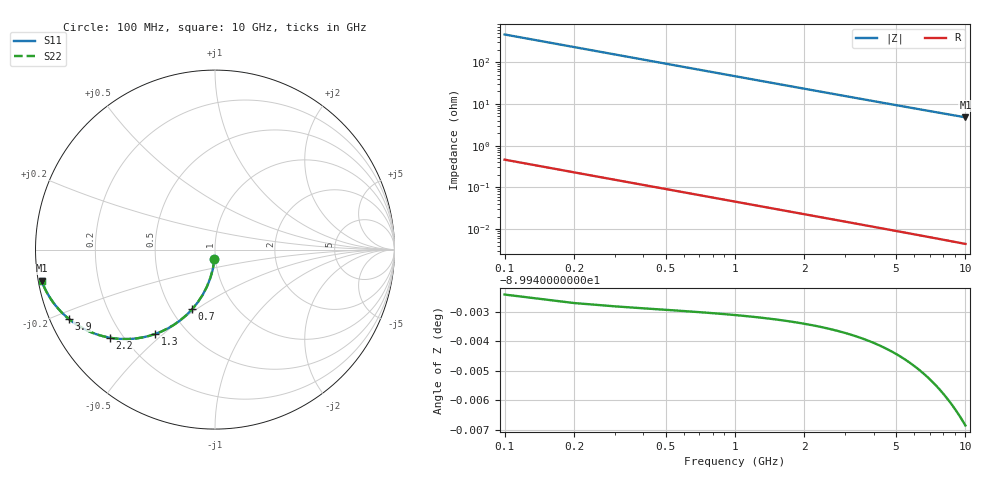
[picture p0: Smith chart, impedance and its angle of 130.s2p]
# Hz S RI R 50.00
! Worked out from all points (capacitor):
!   100 points, 100 MHz to 10 GHz, reference 50 ohm
!   read as one part in shunt: C = 3.46 pF near 100 MHz
!   lowest |Z| = 4.78 ohm at 10 GHz (marker M1)
!   S11 on the Smith chart (normalised r, x): 100 MHz: 0.99, -0.11; 700 MHz: 0.63, -0.48; 1.3 GHz: 0.34, -0.47; 2.2 GHz: 0.15, -0.36; 3.9 GHz: 0.05, -0.22; 10 GHz: 0.01, -0.09
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1e8  -0.00299 -0.0541  0.997 -0.0542  0.997 -0.0542  -0.00299 -0.0541
2e8  -0.0118 -0.1073  0.9882 -0.1075  0.9882 -0.1075  -0.0118 -0.1073
3e8  -0.026 -0.1586  0.9739 -0.1589  0.9739 -0.1589  -0.026 -0.1586
4e8  -0.0453 -0.2072  0.9547 -0.2077  0.9547 -0.2077  -0.0453 -0.2072
5e8  -0.0689 -0.2526  0.9311 -0.2531  0.9311 -0.2531  -0.0689 -0.2526
6e8  -0.0962 -0.2941  0.9037 -0.2948  0.9037 -0.2948  -0.0962 -0.2941
7e8  -0.1265 -0.3315  0.8735 -0.3323  0.8735 -0.3323  -0.1265 -0.3315
8e8  -0.159 -0.3647  0.841 -0.3656  0.841 -0.3656  -0.159 -0.3647
1e9  -0.2278 -0.4183  0.7722 -0.4195  0.7722 -0.4195  -0.2278 -0.4183
1.3e9  -0.3323 -0.4698  0.6677 -0.4713  0.6677 -0.4713  -0.3323 -0.4698
1.5e9  -0.3982 -0.4882  0.6017 -0.4899  0.6017 -0.4899  -0.3982 -0.4882
1.8e9  -0.4876 -0.4983  0.5124 -0.5004  0.5124 -0.5004  -0.4876 -0.4983
2.2e9  -0.5865 -0.4907  0.4135 -0.4932  0.4135 -0.4932  -0.5865 -0.4907
2.5e9  -0.6465 -0.4761  0.3535 -0.479  0.3535 -0.479  -0.6465 -0.4761
2.8e9  -0.6961 -0.4578  0.3038 -0.461  0.3038 -0.461  -0.6961 -0.4578
3.4e9  -0.7711 -0.4176  0.2288 -0.4216  0.2288 -0.4216  -0.7711 -0.4176
3.9e9  -0.8157 -0.3849  0.1843 -0.3895  0.1843 -0.3895  -0.8157 -0.3849
4.5e9  -0.8547 -0.3493  0.1453 -0.3546  0.1453 -0.3546  -0.8547 -0.3493
5.1e9  -0.8829 -0.3179  0.117 -0.324  0.117 -0.324  -0.8829 -0.3179
6.7e9  -0.9285 -0.2531  0.0714 -0.2611  0.0714 -0.2611  -0.9285 -0.2531
8.4e9  -0.9533 -0.2054  0.0466 -0.2155  0.0466 -0.2155  -0.9533 -0.2054
1e10  -0.9666 -0.1729  0.0333 -0.185  0.0333 -0.185  -0.9666 -0.1729
